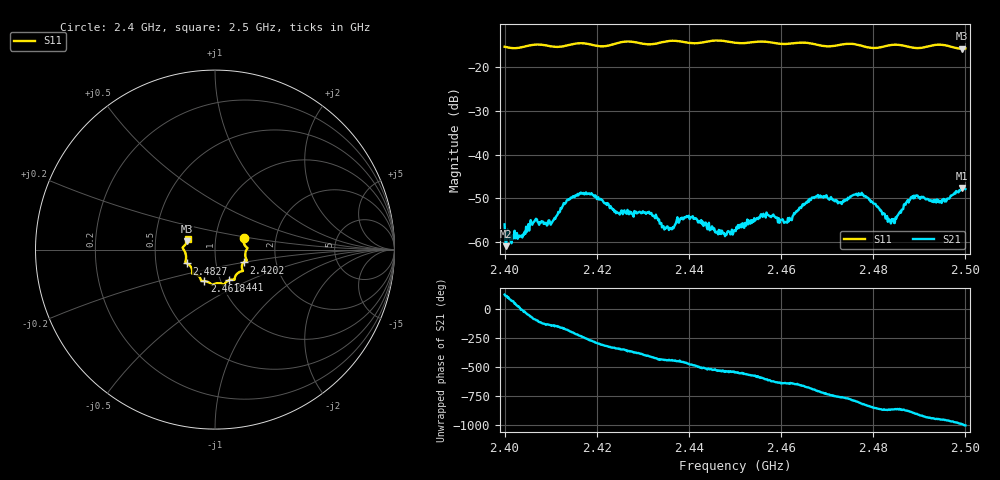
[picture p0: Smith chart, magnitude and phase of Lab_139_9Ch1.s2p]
# Hz S RI R 50
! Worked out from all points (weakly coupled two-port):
!   601 points, 2.4 GHz to 2.5 GHz, reference 50 ohm
!   highest |S21| = -47.62 dB at 2.4993 GHz (marker M1); lowest = -61.0 dB at 2.4003 GHz (marker M2)
!   lowest |S11| = -15.8 dB at 2.4992 GHz (marker M3), VSWR 1.39, Z = 36.4 + j3.63 ohm
!   |S11| at or under -10 dB: start of sweep to end of sweep
!   S12 and S22 are empty: the file has one direction only
!   S11 on the Smith chart (normalised r, x): 2.4 GHz: 1.36, +0.18; 2.4202 GHz: 1.36, -0.20; 2.441 GHz: 1.10, -0.39; 2.4618 GHz: 0.84, -0.30; 2.4827 GHz: 0.72, -0.11; 2.5 GHz: 0.73, +0.09
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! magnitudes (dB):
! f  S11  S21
! 2.4 GHz  -15.4  -56.0
! 2.4003 GHz  -15.4  -61.0
! 2.4103 GHz  -15.3  -55.4
! 2.4167 GHz  -14.5  -48.7
! 2.4202 GHz  -15.2  -50.0
! 2.4245 GHz  -14.5  -53.3
! 2.4333 GHz  -14.5  -55.0
! 2.4362 GHz  -14.0  -57.0
! 2.441 GHz  -14.5  -54.7
! 2.4462 GHz  -13.9  -57.7
! 2.45 GHz  -14.4  -57.3
! 2.456 GHz  -14.2  -54.3
! 2.4618 GHz  -14.7  -54.5
! 2.4667 GHz  -14.6  -49.8
! 2.4773 GHz  -15.1  -49.1
! 2.4827 GHz  -15.2  -54.6
! 2.4833 GHz  -15.0  -54.7
! 2.4887 GHz  -15.6  -50.0
! 2.4945 GHz  -14.9  -50.8
! 2.4992 GHz  -15.8  -48.1
! 2.4993 GHz  -15.8  -47.6
! 2.5 GHz  -15.7  -47.9
